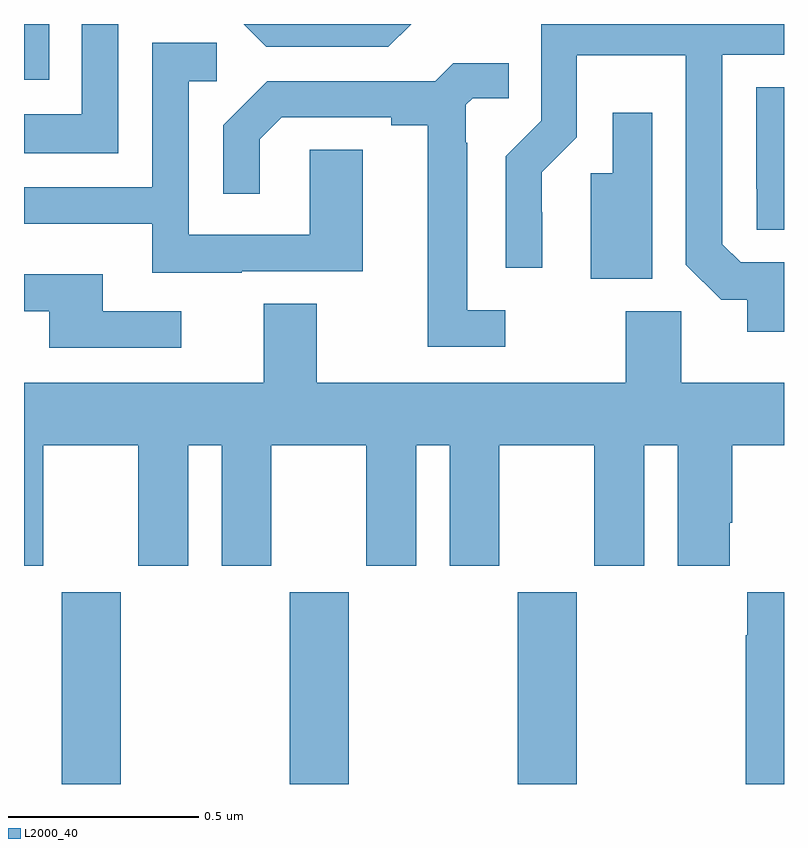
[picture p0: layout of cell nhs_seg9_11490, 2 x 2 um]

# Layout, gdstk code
import gdstk
lib = gdstk.Library(unit=1e-6, precision=1e-09)
def R(c, l, rs):  # rectangles x0, y0, x1, y1
    for r in rs: c.add(gdstk.rectangle(r[:2], r[2:], *l))
def A(c, l, x, y, w, h, nx, ny, dx, dy):  # array of equal rectangles
    R(c, l, [(x+i*dx, y+j*dy, x+i*dx+w, y+j*dy+h) for i in range(nx) for j in range(ny)])
def P(c, l, *ps):  # polygons
    for p in ps: c.add(gdstk.Polygon(p, *l))
L2000_40 = (2000, 40)

nhs_seg9_11490 = lib.new_cell('nhs_seg9_11490')
A(nhs_seg9_11490, L2000_40, 256.099, 1223.5, 0.155, 0.504, 3, 1, 0.6, 0)
R(nhs_seg9_11490, L2000_40, [(256,1225.353,256.067,1225.5)])
P(nhs_seg9_11490, L2000_40, [(258,1224.873),(257.886,1224.873),(257.838,1224.921),(257.838,1225.419),(258,1225.419),(258,1225.5),(257.361,1225.5),(257.361,1225.245),(257.268,1225.152),(257.268,1224.858),(257.364,1224.858),(257.364,1225.004),(257.363,1225.004),(257.363,1225.11),(257.454,1225.202),(257.454,1225.418),(257.742,1225.418),(257.742,1224.867),(257.835,1224.775),(257.903,1224.775),(257.903,1224.69),(258,1224.69)],
  [(257.019,1225.5),(256.578,1225.5),(256.638,1225.44),(256.959,1225.44)],
  [(256.248,1225.5),(256.152,1225.5),(256.152,1225.263),(256,1225.263),(256,1225.16),(256.248,1225.16)],
  [(256.573,1224.849),(256.891,1224.849),(256.891,1225.169),(256.752,1225.169),(256.752,1224.945),(256.434,1224.945),(256.434,1225.35),(256.507,1225.35),(256.507,1225.451),(256.338,1225.451),(256.338,1225.071),(256,1225.071),(256,1224.974),(256.337,1224.974),(256.337,1224.845),(256.573,1224.845)],
  [(257.266,1224.747),(257.167,1224.747),(257.167,1225.187),(257.163,1225.187),(257.163,1225.287),(257.181,1225.305),(257.276,1225.305),(257.276,1225.397),(257.13,1225.397),(257.082,1225.35),(256.64,1225.35),(256.524,1225.234),(256.524,1225.053),(256.621,1225.053),(256.621,1225.197),(256.678,1225.254),(256.967,1225.254),(256.967,1225.234),(257.063,1225.234),(257.063,1224.651),(257.266,1224.651)],
  [(258,1225.334),(257.927,1225.334),(257.927,1225.066),(257.928,1225.066),(257.928,1224.958),(258,1224.958)],
  [(257.653,1225.267),(257.549,1225.267),(257.549,1225.107),(257.492,1225.107),(257.492,1224.829),(257.653,1224.829)],
  [(256.414,1224.744),(256.207,1224.744),(256.207,1224.841),(256,1224.841),(256,1224.744),(256.067,1224.744),(256.067,1224.648),(256.414,1224.648)],
  [(256.051,1224.392),(256.301,1224.392),(256.301,1224.075),(256.432,1224.075),(256.432,1224.392),(256.52,1224.392),(256.52,1224.075),(256.651,1224.075),(256.651,1224.392),(256.901,1224.392),(256.901,1224.075),(257.032,1224.075),(257.032,1224.392),(257.12,1224.392),(257.12,1224.075),(257.251,1224.075),(257.251,1224.392),(257.501,1224.392),(257.501,1224.075),(257.632,1224.075),(257.632,1224.392),(257.72,1224.392),(257.72,1224.075),(257.857,1224.075),(257.857,1224.187),(257.864,1224.187),(257.864,1224.392),(258,1224.392),(258,1224.556),(257.73,1224.556),(257.73,1224.744),(257.584,1224.744),(257.584,1224.556),(256.771,1224.556),(256.771,1224.764),(256.631,1224.764),(256.631,1224.556),(256,1224.556),(256,1224.075),(256.051,1224.075)],
  [(258,1224.004),(257.903,1224.004),(257.903,1223.891),(257.899,1223.891),(257.899,1223.5),(258,1223.5)])

lib.write_gds('nhs_seg9_11490.gds')
